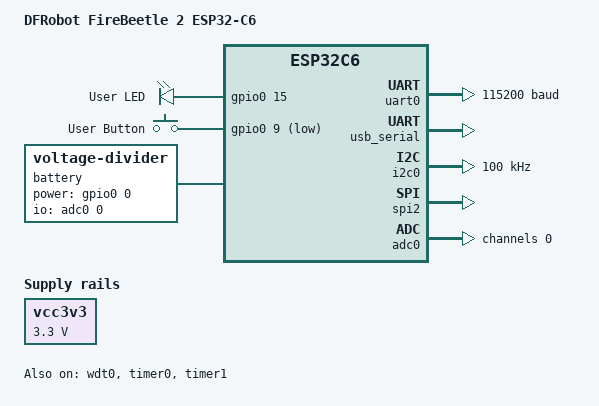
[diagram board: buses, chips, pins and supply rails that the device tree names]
/*
 * Copyright (c) 2024 DFRobot
 * SPDX-License-Identifier: Apache-2.0
 */

/dts-v1/;

#include <espressif/esp32c6/esp32c6_fx4.dtsi>
#include "firebeetle2_esp32c6-pinctrl.dtsi"
#include <zephyr/dt-bindings/input/input-event-codes.h>

/ {
	model = "DFRobot FireBeetle 2 ESP32-C6";
	compatible = "dfrobot,firebeetle2-esp32c6";

	chosen {
		zephyr,sram = &sram0;
		zephyr,console = &usb_serial;
		zephyr,shell-uart = &usb_serial;
		zephyr,flash = &flash0;
		zephyr,code-partition = &slot0_partition;
	};

	aliases {
		led0 = &user_led;
		sw0 = &user_button;
		watchdog0 = &wdt0;
	};

	leds {
		compatible = "gpio-leds";
		user_led: led_0 {
			gpios = <&gpio0 15 GPIO_ACTIVE_HIGH>;
			label = "User LED";
		};
	};

	gpio_keys {
		compatible = "gpio-keys";
		user_button: button_0 {
			label = "User Button";
			gpios = <&gpio0 9 (GPIO_PULL_UP | GPIO_ACTIVE_LOW)>;
			zephyr,code = <INPUT_KEY_0>;
		};
	};

	/* Solar panel and battery management */
	power {
		compatible = "regulator-fixed";
		regulator-name = "vcc3v3";
		regulator-min-microvolt = <3300000>;
		regulator-max-microvolt = <3300000>;
	};

	battery {
		compatible = "voltage-divider";
		io-channels = <&adc0 0>;
		output-ohms = <1000000>;
		full-ohms = <2000000>;
		power-gpios = <&gpio0 0 GPIO_ACTIVE_HIGH>;
	};
};

&cpu0 {
	clock-frequency = <ESP32_CLK_CPU_160M>;
};

&uart0 {
	status = "okay";
	current-speed = <115200>;
	pinctrl-0 = <&uart0_default>;
	pinctrl-names = "default";
};

&usb_serial {
	status = "okay";
};

&i2c0 {
	status = "okay";
	clock-frequency = <I2C_BITRATE_STANDARD>;
	pinctrl-0 = <&i2c0_default>;
	pinctrl-names = "default";
};

&spi2 {
	#address-cells = <1>;
	#size-cells = <0>;
	status = "okay";
	pinctrl-0 = <&spi2_default>;
	pinctrl-names = "default";
};

&gpio0 {
	status = "okay";
};

&wdt0 {
	status = "okay";
};

&timer0 {
	status = "okay";
};

&timer1 {
	status = "okay";
};

&adc0 {
	status = "okay";
	#address-cells = <1>;
	#size-cells = <0>;

	channel@0 {
		reg = <0>;
		zephyr,gain = "ADC_GAIN_1";
		zephyr,reference = "ADC_REF_INTERNAL";
		zephyr,acquisition-time = <ADC_ACQ_TIME_DEFAULT>;
		zephyr,resolution = <12>;
	};
};

&flash0 {
	status = "okay";
	partitions {
		compatible = "fixed-partitions";
		#address-cells = <1>;
		#size-cells = <1>;

		/* Reserve 64KB for the bootloader */
		boot_partition: partition@0 {
			label = "mcuboot";
			reg = <0x00000000 0x00010000>;
			read-only;
		};

		/* Reserve 1024KB for the application in slot 0 */
		slot0_partition: partition@10000 {
			label = "image-0";
			reg = <0x00010000 0x00100000>;
		};

		/* Reserve 1024KB for the application in slot 1 */
		slot1_partition: partition@110000 {
			label = "image-1";
			reg = <0x00110000 0x00100000>;
		};

		/* Reserve 256KB for the scratch partition */
		scratch_partition: partition@210000 {
			label = "image-scratch";
			reg = <0x00210000 0x00040000>;
		};

		storage_partition: partition@250000 {
			label = "storage";
			reg = <0x00250000 0x00006000>;
		};
	};
};
